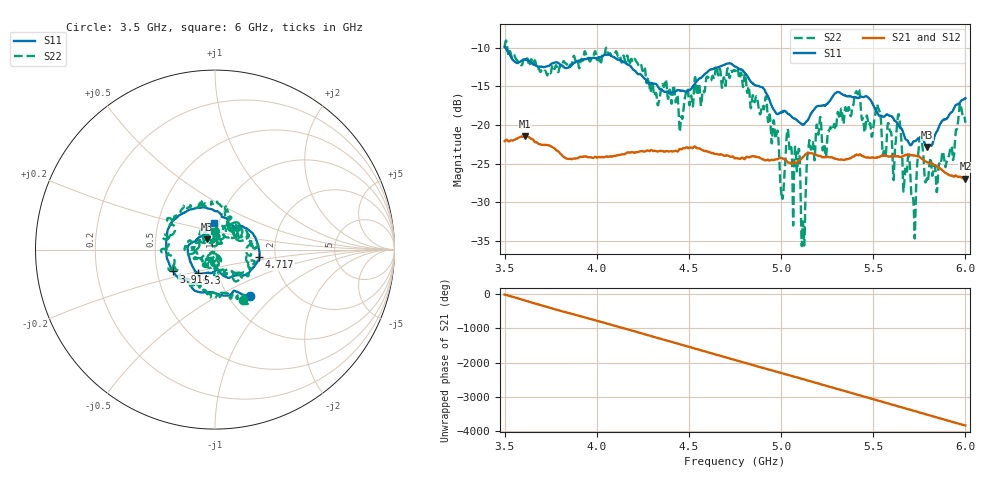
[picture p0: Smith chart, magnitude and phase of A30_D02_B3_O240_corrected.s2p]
! Created with skrf 1.9.0 (http://scikit-rf.org).
# Hz S RI R 50.0
!freq ReS11 ImS11 ReS21 ImS21 ReS12 ImS12 ReS22 ImS22
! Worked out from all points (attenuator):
!   1601 points, 3.5 GHz to 6 GHz, reference 50 ohm
!   highest |S21| = -21.46 dB at 3.611 GHz (marker M1); lowest = -27.0 dB at 6 GHz (marker M2)
!   lowest |S11| = -22.8 dB at 5.791 GHz (marker M3), VSWR 1.16, Z = 45.5 + j5.24 ohm
!   |S11| at or under -10 dB: 3.504 GHz to end of sweep
!   |S22| runs from -35.7 to -9.0 dB; largest |S21 - S12| = 0.00093
!   S11 on the Smith chart (normalised r, x): 3.5 GHz: 1.25, -0.71; 3.914 GHz: 0.61, -0.16; 4.717 GHz: 1.65, -0.15; 5.3 GHz: 0.80, -0.22; 6 GHz: 0.94, +0.29
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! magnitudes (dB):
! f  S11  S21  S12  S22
! 3.5 GHz  -9.9  -22.1  -22.1  -9.9
! 3.611 GHz  -11.5  -21.5  -21.5  -11.8
! 3.914 GHz  -11.6  -24.1  -24.1  -11.5
! 3.917 GHz  -11.6  -24.1  -24.1  -11.4
! 4.334 GHz  -15.1  -23.4  -23.4  -17.3
! 4.458 GHz  -15.6  -23.1  -23.1  -19.1
! 4.717 GHz  -12.0  -24.0  -24.1  -13.6
! 4.75 GHz  -12.4  -24.3  -24.3  -13.0
! 4.925 GHz  -16.1  -24.5  -24.5  -18.1
! 5.005 GHz  -18.3  -24.3  -24.3  -29.2
! 5.036 GHz  -18.5  -24.8  -24.8  -20.5
! 5.088 GHz  -19.4  -24.8  -24.8  -25.9
! 5.119 GHz  -20.0  -24.2  -24.1  -32.5
! 5.167 GHz  -18.3  -23.7  -23.7  -22.6
! 5.3 GHz  -15.8  -24.4  -24.4  -20.0
! 5.414 GHz  -16.5  -23.9  -23.9  -15.8
! 5.584 GHz  -18.8  -24.1  -24.1  -19.8
! 5.641 GHz  -20.2  -24.2  -24.1  -18.9
! 5.719 GHz  -22.1  -24.0  -23.9  -30.3
! 5.755 GHz  -21.9  -24.2  -24.2  -21.6
! 5.791 GHz  -22.8  -24.8  -24.8  -26.9
! 6 GHz  -16.5  -27.0  -26.9  -19.7
